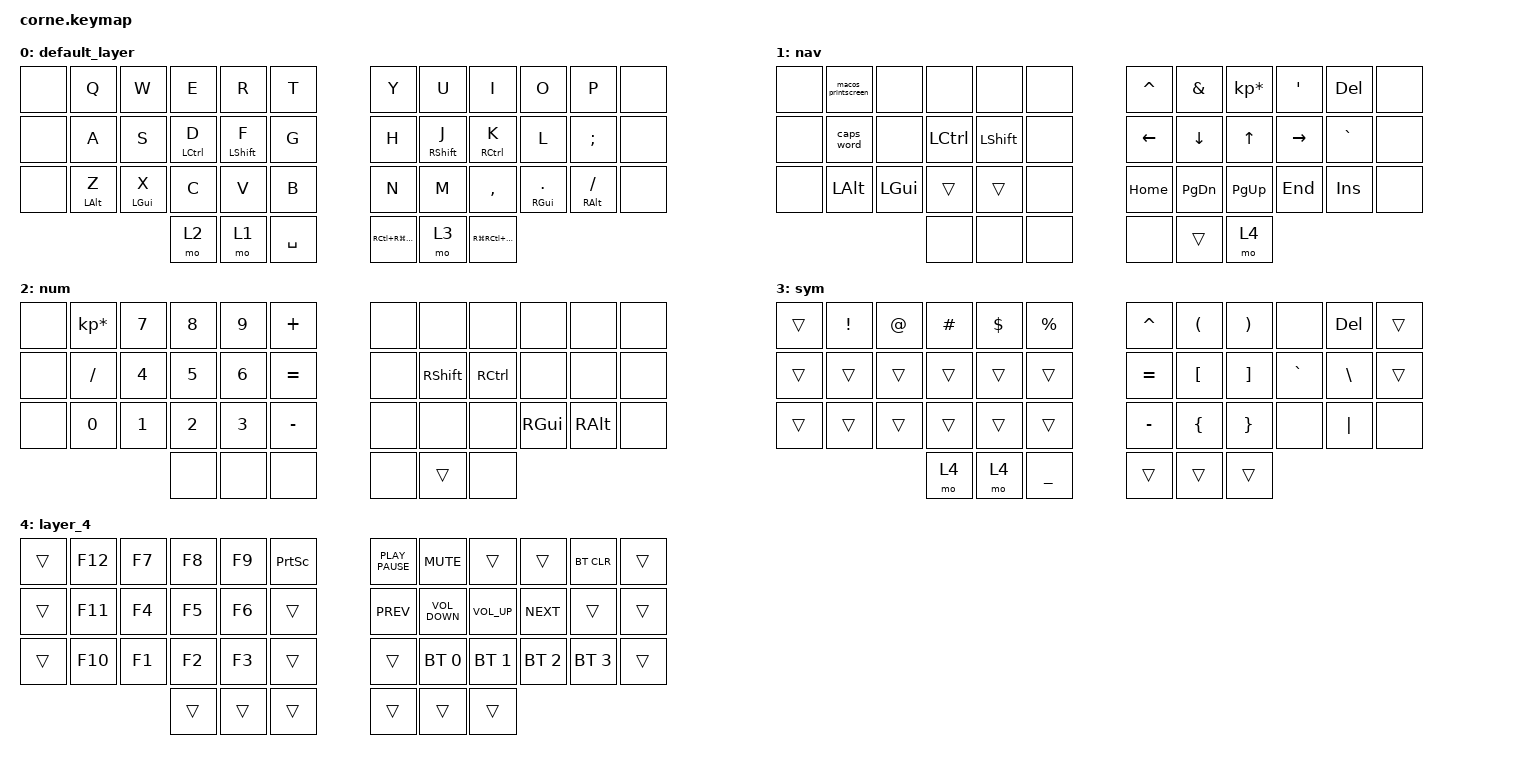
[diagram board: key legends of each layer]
/*
 * Copyright (c) 2020 The ZMK Contributors
 *
 * SPDX-License-Identifier: MIT
 */

#include <behaviors.dtsi>
#include <dt-bindings/zmk/bt.h>
#include <dt-bindings/zmk/keys.h>

/ {
    combos {
        compatible = "zmk,combos";

        backspace {
            bindings = <&kp BACKSPACE>;
            key-positions = <27 28>;
            timeout-ms = <20>;
        };

        escape {
            bindings = <&kp ESCAPE>;
            key-positions = <19 20>;
            timeout-ms = <20>;
        };

        tab {
            bindings = <&kp TAB>;
            key-positions = <26 27>;
            timeout-ms = <20>;
        };

        enter {
            bindings = <&kp ENTER>;
            key-positions = <20 21>;
            timeout-ms = <20>;
        };
    };

    macros {
        macos_printscreen: macos_printscreen {
            compatible = "zmk,behavior-macro";
            #binding-cells = <0>;
            bindings = <&kp LG(LS(LC(NUMBER_4)))>;
            label = "MACOS_PRINTSCREEN";
        };
    };

    behaviors {
        hr_rmod: hr_rmod {
            compatible = "zmk,behavior-hold-tap";
            label = "HR_RMOD";
            bindings = <&kp>, <&kp>;

            #binding-cells = <2>;
            tapping-term-ms = <150>;
            quick-tap-ms = <150>;
            flavor = "balanced";
            hold-trigger-key-positions = <0 1 2 3 4 5 12 13 14 15 16 17 24 25 26 27 28 29 37>;
        };

        hr_lmod: hr_lmod {
            compatible = "zmk,behavior-hold-tap";
            label = "HR_LMOD";
            bindings = <&kp>, <&kp>;

            #binding-cells = <2>;
            tapping-term-ms = <150>;
            quick-tap-ms = <150>;
            flavor = "balanced";
            hold-trigger-key-positions = <6 7 8 9 10 11 18 19 20 21 22 23 30 31 32 33 34 35 40>;
        };
    };

    keymap {
        compatible = "zmk,keymap";

        default_layer {
            // -----------------------------------------------------------------------------------------
            // |  TAB |  Q  |  W  |  E  |  R  |  T  |   |  Y  |  U   |  I  |  O  |  P  | BKSP |
            // | CTRL |  A  |  S  |  D  |  F  |  G  |   |  H  |  J   |  K  |  L  |  ;  |  '   |
            // | SHFT |  Z  |  X  |  C  |  V  |  B  |   |  N  |  M   |  ,  |  .  |  /  | ESC  |
            //                    | GUI | LWR | SPC |   | ENT | RSE  | ALT |

            bindings = <
&none  &kp Q            &kp W            &kp E             &kp R              &kp T        &kp Y             &kp U              &kp I                   &kp O              &kp P                &none
&none  &kp A            &kp S            &hr_lmod LCTRL D  &hr_lmod LSHIFT F  &kp G        &kp H             &hr_rmod RSHIFT J  &hr_rmod RCTRL K        &kp L              &kp SEMI             &none
&none  &hr_lmod LALT Z  &hr_lmod LGUI X  &kp C             &kp V              &kp B        &kp N             &kp M              &kp COMMA               &hr_rmod RGUI DOT  &hr_rmod RALT SLASH  &none
                                         &mo 2             &mo 1              &kp SPACE    &kp RC(RG(RALT))  &mo 3              &kp RG(RC(RA(RSHIFT)))
            >;
        };

        nav {
            // -----------------------------------------------------------------------------------------
            // |  TAB |  1  |  2  |  3  |  4  |  5  |   |  6  |  7  |  8  |  9  |  0  | BKSP |
            // | BTCLR| BT1 | BT2 | BT3 | BT4 | BT5 |   | LFT | DWN |  UP | RGT |     |      |
            // | SHFT |     |     |     |     |     |   |     |     |     |     |     |      |
            //                    | GUI |     | SPC |   | ENT |     | ALT |

            bindings = <
&none  &macos_printscreen  &none     &none             &none       &none    &kp CARET  &kp AMPS       &kp KP_MULTIPLY  &kp SINGLE_QUOTE  &kp DELETE  &none
&none  &caps_word          &none     &kp LEFT_CONTROL  &kp LSHIFT  &none    &kp LEFT   &kp DOWN       &kp UP           &kp RIGHT         &kp GRAVE   &none
&none  &kp LALT            &kp LGUI  &trans            &trans      &none    &kp HOME   &kp PAGE_DOWN  &kp PAGE_UP      &kp END           &kp INS     &none
                                     &none             &none       &none    &none      &trans         &mo 4
            >;
        };

        num {
            // -----------------------------------------------------------------------------------------
            // |  TAB |  !  |  @  |  #  |  $  |  %  |   |  ^  |  &  |  *  |  (  |  )  | BKSP |
            // | CTRL |     |     |     |     |     |   |  -  |  =  |  [  |  ]  |  \  |  `   |
            // | SHFT |     |     |     |     |     |   |  _  |  +  |  {  |  }  | "|" |  ~   |
            //                    | GUI |     | SPC |   | ENT |     | ALT |

            bindings = <
&none  &kp KP_MULTIPLY  &kp N7        &kp N8        &kp N9        &kp PLUS     &none  &none            &none              &none     &none     &none
&none  &kp SLASH        &kp NUMBER_4  &kp N5        &kp NUMBER_6  &kp EQUAL    &none  &kp RIGHT_SHIFT  &kp RIGHT_CONTROL  &none     &none     &none
&none  &kp NUMBER_0     &kp NUMBER_1  &kp NUMBER_2  &kp NUMBER_3  &kp MINUS    &none  &none            &none              &kp RGUI  &kp RALT  &none
                                      &none         &none         &none        &none  &trans           &none
            >;
        };

        sym {
            bindings = <
&trans  &kp EXCLAMATION  &kp AT_SIGN  &kp HASH  &kp DOLLAR  &kp PERCENT       &kp CARET  &kp LEFT_PARENTHESIS  &kp RIGHT_PARENTHESIS  &none      &kp DEL   &trans
&trans  &trans           &trans       &trans    &trans      &trans            &kp EQUAL  &kp LBKT              &kp RBKT               &kp GRAVE  &kp BSLH  &trans
&trans  &trans           &trans       &trans    &trans      &trans            &kp MINUS  &kp LEFT_BRACE        &kp RIGHT_BRACE        &none      &kp PIPE  &none
                                      &mo 4     &mo 4       &kp UNDERSCORE    &trans     &trans                &trans
            >;
        };

        layer_4 {
            bindings = <
&trans  &kp F12  &kp F7  &kp F8  &kp F9  &kp PRINTSCREEN    &kp K_PLAY_PAUSE  &kp K_MUTE         &trans           &trans        &bt BT_CLR    &trans
&trans  &kp F11  &kp F4  &kp F5  &kp F6  &trans             &kp K_PREV        &kp C_VOLUME_DOWN  &kp C_VOLUME_UP  &kp K_NEXT    &trans        &trans
&trans  &kp F10  &kp F1  &kp F2  &kp F3  &trans             &trans            &bt BT_SEL 0       &bt BT_SEL 1     &bt BT_SEL 2  &bt BT_SEL 3  &trans
                         &trans  &trans  &trans             &trans            &trans             &trans
            >;
        };
    };
};
